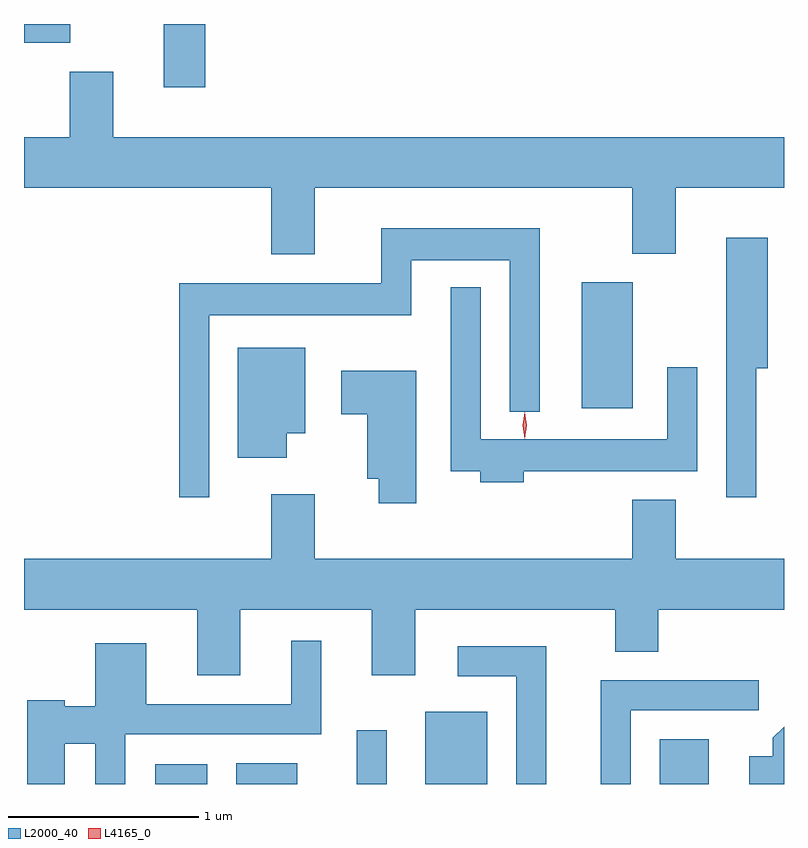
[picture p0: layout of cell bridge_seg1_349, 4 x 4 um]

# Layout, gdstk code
import gdstk
lib = gdstk.Library(unit=1e-6, precision=1e-09)
def R(c, l, rs):  # rectangles x0, y0, x1, y1
    for r in rs: c.add(gdstk.rectangle(r[:2], r[2:], *l))
def P(c, l, *ps):  # polygons
    for p in ps: c.add(gdstk.Polygon(p, *l))
L2000_40 = (2000, 40)
L4165_0 = (4165, 0)

bridge_seg1_349 = lib.new_cell('bridge_seg1_349')
R(bridge_seg1_349, L2000_40, [(925.631,872.019,925.904,872.124), (926.056,872.019,926.379,872.129), (926.691,872.019,926.849,872.303), (927.051,872.019,927.379,872.399), (928.286,872.019,928.544,872.254), (927.876,873.996,928.144,874.659), (925.676,875.686,925.894,876.019), (924.94,875.921,925.184,876.019)])
P(bridge_seg1_349, L2000_40, [(926.469,875.156),(928.141,875.156),(928.141,874.811),(928.369,874.811),(928.369,875.156),(928.94,875.156),(928.94,875.424),(925.409,875.424),(925.409,875.769),(925.181,875.769),(925.181,875.424),(924.94,875.424),(924.94,875.156),(926.241,875.156),(926.241,874.806),(926.469,874.806)],
  [(925.914,874.486),(926.979,874.486),(926.979,874.776),(927.496,874.776),(927.496,873.978),(927.654,873.978),(927.654,874.944),(926.821,874.944),(926.821,874.654),(925.756,874.654),(925.756,873.528),(925.914,873.528)],
  [(928.794,874.206),(928.854,874.206),(928.854,874.894),(928.636,874.894),(928.636,873.528),(928.794,873.528)],
  [(927.569,873.666),(928.484,873.666),(928.484,874.213),(928.326,874.213),(928.326,873.834),(927.344,873.834),(927.344,874.633),(927.186,874.633),(927.186,873.666),(927.341,873.666),(927.341,873.606),(927.569,873.606)],
  [(926.324,873.866),(926.419,873.866),(926.419,874.314),(926.066,874.314),(926.066,873.736),(926.324,873.736)],
  [(927.004,874.194),(926.611,874.194),(926.611,873.966),(926.746,873.966),(926.746,873.626),(926.806,873.626),(926.806,873.496),(927.004,873.496)],
  [(928.279,872.936),(928.94,872.936),(928.94,873.204),(928.369,873.204),(928.369,873.514),(928.141,873.514),(928.141,873.204),(926.469,873.204),(926.469,873.544),(926.241,873.544),(926.241,873.204),(924.94,873.204),(924.94,872.936),(925.851,872.936),(925.851,872.591),(926.079,872.591),(926.079,872.936),(926.771,872.936),(926.771,872.591),(926.999,872.591),(926.999,872.936),(928.051,872.936),(928.051,872.716),(928.279,872.716)],
  [(925.154,872.231),(925.316,872.231),(925.316,872.019),(925.474,872.019),(925.474,872.281),(926.504,872.281),(926.504,872.773),(926.346,872.773),(926.346,872.439),(925.584,872.439),(925.584,872.759),(925.316,872.759),(925.316,872.429),(925.154,872.429),(925.154,872.459),(924.956,872.459),(924.956,872.019),(925.154,872.019)],
  [(927.689,872.744),(927.223,872.744),(927.223,872.586),(927.531,872.586),(927.531,872.019),(927.689,872.019)],
  [(928.134,872.406),(928.808,872.406),(928.808,872.564),(927.976,872.564),(927.976,872.019),(928.134,872.019)],
  [(928.94,872.321),(928.881,872.262),(928.881,872.164),(928.756,872.164),(928.756,872.019),(928.94,872.019)])
P(bridge_seg1_349, L4165_0, [(927.575,873.837),(927.566,873.907),(927.575,873.976),(927.576,873.976),(927.576,873.976),(927.586,873.907),(927.576,873.837),(927.576,873.837)],
  [(927.575,873.84),(927.566,873.906),(927.575,873.972),(927.576,873.973),(927.576,873.972),(927.586,873.906),(927.576,873.84),(927.576,873.84)])

lib.write_gds('bridge_seg1_349.gds')
